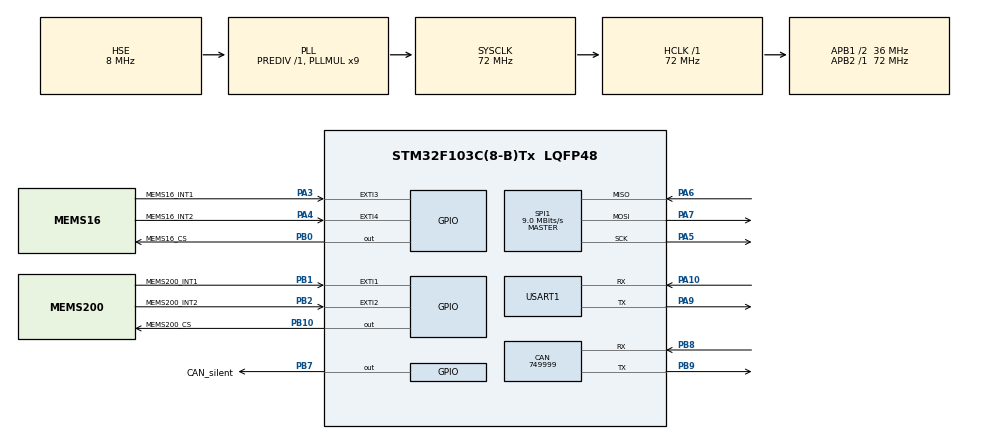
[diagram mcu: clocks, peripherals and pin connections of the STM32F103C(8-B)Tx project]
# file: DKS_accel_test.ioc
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CAN.CalculateBaudRate=749999
CAN.CalculateTimeBit=1333
CAN.CalculateTimeQuantum=444.44444444444446
Mcu.Family=STM32F1
Mcu.Name=STM32F103C(8-B)Tx
Mcu.Package=LQFP48
NVIC.PriorityGroup=NVIC_PRIORITYGROUP_4
NVIC.SPI1_IRQn=true\:0\:0\:false\:false\:true\:true\:true\:true
PA10.Mode=Asynchronous
PA10.Signal=USART1_RX
PA13.Mode=Trace_Asynchronous_SW
PA13.Signal=SYS_JTMS-SWDIO
PA14.Mode=Trace_Asynchronous_SW
PA14.Signal=SYS_JTCK-SWCLK
PA3.GPIO_Label=MEMS16_INT1
PA3.Signal=GPXTI3
PA4.GPIO_Label=MEMS16_INT2
PA4.Signal=GPXTI4
PA5.Mode=Full_Duplex_Master
PA5.Signal=SPI1_SCK
PA6.Mode=Full_Duplex_Master
PA6.Signal=SPI1_MISO
PA7.Mode=Full_Duplex_Master
PA7.Signal=SPI1_MOSI
PA9.Mode=Asynchronous
PA9.Signal=USART1_TX
PB0.GPIO_Label=MEMS16_CS
PB0.Signal=GPIO_Output
PB1.GPIO_Label=MEMS200_INT1
PB1.Signal=GPXTI1
PB10.GPIO_Label=MEMS200_CS
PB10.Signal=GPIO_Output
PB2.GPIO_Label=MEMS200_INT2
PB2.Signal=GPXTI2
PB3.Mode=Trace_Asynchronous_SW
PB3.Signal=SYS_JTDO-TRACESWO
PB7.GPIO_Label=CAN_silent
PB7.Signal=GPIO_Output
PB8.Mode=CAN_Activate
PB8.Signal=CAN_RX
PB9.Mode=CAN_Activate
PB9.Signal=CAN_TX
PD0-OSC_IN.Mode=HSE-External-Oscillator
PD0-OSC_IN.Signal=RCC_OSC_IN
PD1-OSC_OUT.Mode=HSE-External-Oscillator
PD1-OSC_OUT.Signal=RCC_OSC_OUT
ProjectManager.HeapSize=0x200
ProjectManager.StackSize=0x400
ProjectManager.TargetToolchain=STM32CubeIDE
RCC.AHBFreq_Value=72000000
RCC.APB1CLKDivider=RCC_HCLK_DIV2
RCC.APB1Freq_Value=36000000
RCC.APB1TimFreq_Value=72000000
RCC.APB2Freq_Value=72000000
RCC.APB2TimFreq_Value=72000000
RCC.HCLKFreq_Value=72000000
RCC.PLLMUL=RCC_PLL_MUL9
RCC.PLLSourceVirtual=RCC_PLLSOURCE_HSE
RCC.SYSCLKFreq_VALUE=72000000
RCC.SYSCLKSource=RCC_SYSCLKSOURCE_PLLCLK
RCC.USBFreq_Value=72000000
SPI1.BaudRatePrescaler=SPI_BAUDRATEPRESCALER_8
SPI1.CalculateBaudRate=9.0 MBits/s
SPI1.Direction=SPI_DIRECTION_2LINES
SPI1.Mode=SPI_MODE_MASTER
SPI1.VirtualType=VM_MASTER
USART1.VirtualMode=VM_ASYNC
board=custom

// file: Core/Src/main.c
/* USER CODE BEGIN Header */
/**
 ******************************************************************************
 * @file           : main.c
 * @brief          : Main program body
 ******************************************************************************
 * @attention
 *
 * <h2><center>&copy; Copyright (c) 2023 STMicroelectronics.
 * All rights reserved.</center></h2>
 *
 * This software component is licensed by ST under BSD 3-Clause license,
 * the "License"; You may not use this file except in compliance with the
 * License. You may obtain a copy of the License at:
 *                        opensource.org/licenses/BSD-3-Clause
 *
 ******************************************************************************
 */
/* USER CODE END Header */
#include "main.h"
#include "can.h"
#include "spi.h"
#include "usart.h"
#include "gpio.h"

/* USER CODE BEGIN Includes */
#include "spi_driver.h"
#include "LIS2DH12.h"
#include "H3LIS200DL.h"
/* USER CODE END Includes */

/* USER CODE BEGIN PV */
uint8_t result_mems16 = 0x55;
uint8_t result_mems16_1 = 0x55;

uint8_t result_mems200 = 0x55;
uint8_t result_mems200_1 = 0x55;

LIS2DH12 mems16 = {0,};
H3LIS200DL mems200 = {0,};

SPI_CS cs_16;
SPI_CS cs_200;

/* USER CODE END PV */

void SystemClock_Config(void);

int main(void)
{

	/* MCU Configuration--------------------------------------------------------*/

	/* Reset of all peripherals, Initializes the Flash interface and the Systick. */
	HAL_Init();

	/* Configure the system clock */
	SystemClock_Config();

	/* Initialize all configured peripherals */
	MX_GPIO_Init();
	MX_CAN_Init();
	MX_SPI1_Init();
	MX_USART1_UART_Init();
	/* USER CODE BEGIN 2 */
	HAL_GPIO_WritePin(MEMS16_CS_GPIO_Port, MEMS16_CS_Pin, GPIO_PIN_SET);
	HAL_GPIO_WritePin(MEMS200_CS_GPIO_Port, MEMS200_CS_Pin, GPIO_PIN_SET);

	cs_16.GPIO_Pin = MEMS16_CS_Pin;
	cs_16.GPIOx = MEMS16_CS_GPIO_Port;
	mems16.CS = &cs_16;

	cs_200.GPIO_Pin = MEMS200_CS_Pin;
	cs_200.GPIOx = MEMS200_CS_GPIO_Port;
	mems200.CS = &cs_200;

	HAL_Delay(500);
	result_mems16 =  LIS2DH12_Init(&mems16);
	result_mems200 = H3LIS200DL_Init(&mems200);
	HAL_Delay(1000);
	result_mems16_1 = LIS2DH12_Activate(&mems16);
	result_mems200_1 = H3LIS200DL_Activate(&mems200);

	/* USER CODE END 2 */

	/* Infinite loop */
	/* USER CODE BEGIN WHILE */
	while (1)
	{

		HAL_Delay(1);
		LIS2DH12_AccelData(&mems16);
		H3LIS200DL_AccelData(&mems200);

		/* USER CODE END WHILE */

	}
}

void SystemClock_Config(void)
{
	RCC_OscInitTypeDef RCC_OscInitStruct = {0};
	RCC_ClkInitTypeDef RCC_ClkInitStruct = {0};

	/** Initializes the RCC Oscillators according to the specified parameters
	 * in the RCC_OscInitTypeDef structure.
	 */
	RCC_OscInitStruct.OscillatorType = RCC_OSCILLATORTYPE_HSE;
	RCC_OscInitStruct.HSEState = RCC_HSE_ON;
	RCC_OscInitStruct.HSEPredivValue = RCC_HSE_PREDIV_DIV1;
	RCC_OscInitStruct.HSIState = RCC_HSI_ON;
	RCC_OscInitStruct.PLL.PLLState = RCC_PLL_ON;
	RCC_OscInitStruct.PLL.PLLSource = RCC_PLLSOURCE_HSE;
	RCC_OscInitStruct.PLL.PLLMUL = RCC_PLL_MUL9;
	if (HAL_RCC_OscConfig(&RCC_OscInitStruct) != HAL_OK)
	{
		Error_Handler();
	}

	/** Initializes the CPU, AHB and APB buses clocks
	 */
	RCC_ClkInitStruct.ClockType = RCC_CLOCKTYPE_HCLK|RCC_CLOCKTYPE_SYSCLK
			|RCC_CLOCKTYPE_PCLK1|RCC_CLOCKTYPE_PCLK2;
	RCC_ClkInitStruct.SYSCLKSource = RCC_SYSCLKSOURCE_PLLCLK;
	RCC_ClkInitStruct.AHBCLKDivider = RCC_SYSCLK_DIV1;
	RCC_ClkInitStruct.APB1CLKDivider = RCC_HCLK_DIV2;
	RCC_ClkInitStruct.APB2CLKDivider = RCC_HCLK_DIV1;

	if (HAL_RCC_ClockConfig(&RCC_ClkInitStruct, FLASH_LATENCY_2) != HAL_OK)
	{
		Error_Handler();
	}
}

void Error_Handler(void)
{
	__disable_irq();
	while (1)
	{
	}
}
